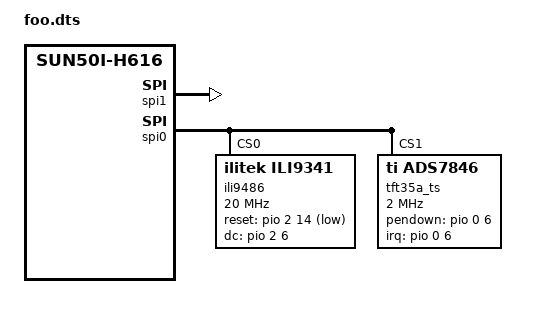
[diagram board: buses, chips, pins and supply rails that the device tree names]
/dts-v1/;
/plugin/;

/ {
	compatible = "allwinner,sun50i-h616";

	fragment@0 {
		target = <&spi1>;
		__overlay__ {
			status = "okay";

			spidev@0{
				status = "disabled";
			};

			spidev@1{
				status = "disabled";
			};
		};
	};

	fragment@1 {
		target = <&pio>;
		__overlay__ {
			// Set up pins
			ili9486_pins: ili9486_pins {
				allwinner,pins = "PC6", "PC14"; // Add DC/RS nad RST pins here
				allwinner,function = "gpio_out", gpio_out;
			};
		ads7846_pins: ads7846_pins {
				pins= "PC10";
				function = "irq";
     			 };
		};
	};

	fragment@2 {
		target = <&spi0>;
		__overlay__ {
			/* needed to avoid dtc warning */
			#address-cells = <1>;
			#size-cells = <0>;

			ili9486: ili9486@0{
				compatible = "ilitek,ili9341";
				reg = <0>;
				pinctrl-names = "default";
				pinctrl-0 = <&ili9486_pins>;

				spi-max-frequency = <20000000>;
				txbuflen = <32768>;
				rotate = <90>;
				bgr = <0>;
				fps = <30>;
				buswidth = <8>;
				regwidth = <16>;
				// Select pins: 1st number = pos. of letter in the alphabet - 1
				//              2nd number = pin number
				//              3rd number = DON'T CHANGE! (1 = ACTIVE_LOW, 0 = ACTIVE_HIGH)
				// Example: PC14 = <&pio 2 14 1>
				//          PC7 = <&pio 2 6 0>
				reset-gpios = <&pio 2 14 1>; // RST pin
				dc-gpios = <&pio 2 6 0>; // DC/RS pin
				debug = <0>;

                init = <0x10000b0 0x00 // Interface Mode Control
                        0x1000011  // Sleep Out
                        0x20000ff  // Delay (255ms)
                        0x10000C0 0x0D 0x0D  // Power Control 1
                        0x10000C1 0x43  // Power Control 2
                        0x10000C5 0x00 0x48 0x80  // VCOM Control 1
                        0x10000C7 0x00  // VCOM Control 2
                        0x1000036 0x28  // Memory Access Control (Rotação)
                        0x100003A 0x55  // Pixel Format Set (16bit)
                        0x10000B1 0xB0 0x11  // Frame Rate Control
                        0x10000F0 0x01 // Enable Extended Comand Set
                        0x10000F6 0x00 0x01 0x32 // SPI ilInterface Control
                        0x1000026 0x01 // Gamma Set
                        0x10000E0 0x0F 0x31 0x2B 0x0C 0x0E 0x08 0x4E 0xF1 0x37 0x07 0x10 0x03 0x0E 0x09 0x00  // Positive Gamma Correction
                        0x10000E1 0x00 0x0E 0x14 0x03 0x11 0x07 0x31 0xC1 0x48 0x08 0x0F 0x0C 0x31 0x36 0x0F  // Negative Gamma Correction
                        0x10000B6 0x02 0x02 0x3B  // Display Function Control
                        0x1000011  // Sleep Out
                        0x20000ff  // Delay (255ms)
                        0x1000029>; // Display ON
			};
			tft35a_ts: tft35a_ts@1 {
				compatible = "ti,ads7846";
				reg = <1>;
				status = "okay";
				pinctrl-names = "default";
				pinctrl-0 = <&ads7846_pins>;
				spi-max-frequency = <2000000>;
				interrupts = <0 6 2>; /* PC6 IRQ_TYPE_EDGE_FALLING */
				interrupt-parent = <&pio>;
				pendown-gpio = <&pio 0 6 0>; /* PC6 */
				ti,x-min = /bits/ 16 <0>;
				ti,y-min = /bits/ 16 <0>;
				ti,x-max = /bits/ 16 <0x0FFF>;
				ti,y-max = /bits/ 16 <0x0FFF>;
				ti,pressure-min = /bits/ 16 <0>;
				ti,pressure-max = /bits/ 16 <0xFFFF>;
				ti,x-plate-ohms = /bits/ 16 <400>;
			};
		};
	};
	__overrides__ {
		speed = <&ili9341>,"spi-max-frquency:0";
		txbuflen = <&ili9341>,"txbuflen:0";
		rotate = <&ili9341>,"rotate:0";
		fps = <&ili9341>,"fps:0";
		bgr = <&ili9341>,"bgr:0";
		debug = <&ili9341>,"debug:0";
		swapxy = <&tft35a_ts>,"ti,swap-xy?";
	};	
};
